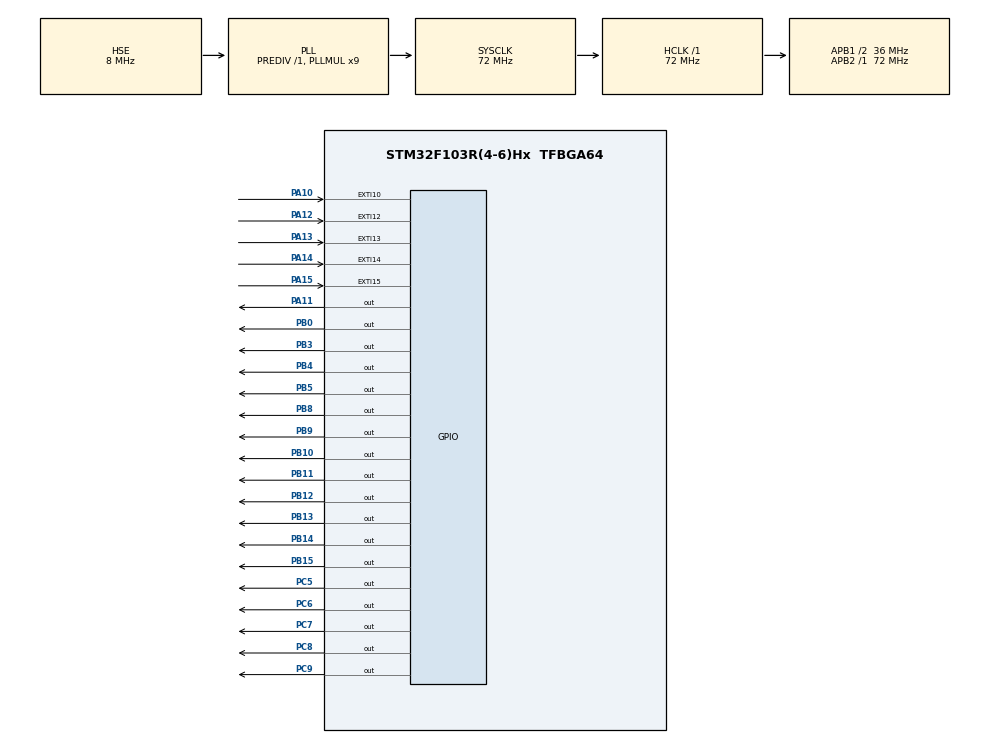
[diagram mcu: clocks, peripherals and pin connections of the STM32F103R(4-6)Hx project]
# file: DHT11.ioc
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Mcu.Family=STM32F1
Mcu.Name=STM32F103R(4-6)Hx
Mcu.Package=TFBGA64
NVIC.EXTI15_10_IRQn=true\:0\:0\:false\:false\:true\:true\:true
NVIC.PriorityGroup=NVIC_PRIORITYGROUP_4
PA10.GPIO_PuPd=GPIO_PULLUP
PA10.Signal=GPXTI10
PA11.GPIO_PuPd=GPIO_PULLUP
PA11.Signal=GPIO_Output
PA12.GPIO_ModeDefaultEXTI=GPIO_MODE_IT_FALLING
PA12.GPIO_PuPd=GPIO_PULLUP
PA12.Signal=GPXTI12
PA13.GPIO_ModeDefaultEXTI=GPIO_MODE_IT_FALLING
PA13.GPIO_PuPd=GPIO_PULLUP
PA13.Signal=GPXTI13
PA14.GPIO_ModeDefaultEXTI=GPIO_MODE_IT_FALLING
PA14.GPIO_PuPd=GPIO_PULLUP
PA14.Signal=GPXTI14
PA15.GPIO_ModeDefaultEXTI=GPIO_MODE_IT_FALLING
PA15.GPIO_PuPd=GPIO_PULLUP
PA15.Signal=GPXTI15
PB0.GPIO_PuPd=GPIO_PULLUP
PB0.Signal=GPIO_Output
PB10.GPIO_PuPd=GPIO_PULLUP
PB10.Signal=GPIO_Output
PB11.GPIO_PuPd=GPIO_PULLUP
PB11.Signal=GPIO_Output
PB12.GPIO_PuPd=GPIO_PULLUP
PB12.Signal=GPIO_Output
PB13.GPIO_PuPd=GPIO_PULLUP
PB13.Signal=GPIO_Output
PB14.GPIO_PuPd=GPIO_PULLUP
PB14.Signal=GPIO_Output
PB15.GPIO_PuPd=GPIO_PULLUP
PB15.Signal=GPIO_Output
PB3.GPIO_PuPd=GPIO_PULLUP
PB3.Signal=GPIO_Output
PB4.GPIO_PuPd=GPIO_PULLUP
PB4.Signal=GPIO_Output
PB5.GPIO_PuPd=GPIO_PULLUP
PB5.Signal=GPIO_Output
PB8.GPIO_PuPd=GPIO_PULLUP
PB8.Signal=GPIO_Output
PB9.GPIO_PuPd=GPIO_PULLUP
PB9.Signal=GPIO_Output
PC14-OSC32_IN.Mode=LSE-External-Oscillator
PC14-OSC32_IN.Signal=RCC_OSC32_IN
PC15-OSC32_OUT.Mode=LSE-External-Oscillator
PC15-OSC32_OUT.Signal=RCC_OSC32_OUT
PC5.GPIO_PuPd=GPIO_PULLUP
PC5.Signal=GPIO_Output
PC6.GPIO_PuPd=GPIO_NOPULL
PC6.Signal=GPIO_Output
PC7.GPIO_PuPd=GPIO_NOPULL
PC7.Signal=GPIO_Output
PC8.GPIO_PuPd=GPIO_NOPULL
PC8.Signal=GPIO_Output
PC9.GPIO_PuPd=GPIO_NOPULL
PC9.Signal=GPIO_Output
PD0-OSC_IN.Mode=HSE-External-Oscillator
PD0-OSC_IN.Signal=RCC_OSC_IN
PD1-OSC_OUT.Mode=HSE-External-Oscillator
PD1-OSC_OUT.Signal=RCC_OSC_OUT
ProjectManager.HeapSize=0x200
ProjectManager.StackSize=0x400
ProjectManager.TargetToolchain=MDK-ARM V5
RCC.AHBFreq_Value=72000000
RCC.APB1CLKDivider=RCC_HCLK_DIV2
RCC.APB1Freq_Value=36000000
RCC.APB1TimFreq_Value=72000000
RCC.APB2Freq_Value=72000000
RCC.APB2TimFreq_Value=72000000
RCC.HCLKFreq_Value=72000000
RCC.PLLMUL=RCC_PLL_MUL9
RCC.PLLSourceVirtual=RCC_PLLSOURCE_HSE
RCC.SYSCLKFreq_VALUE=72000000
RCC.SYSCLKSource=RCC_SYSCLKSOURCE_PLLCLK
RCC.USBFreq_Value=72000000
TIM1.Prescaler=71
VP_SYS_VS_ND.Mode=No_Debug
VP_TIM1_VS_ClockSourceINT.Mode=Internal
board=custom

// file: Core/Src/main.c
/* USER CODE BEGIN Header */
/**
  ******************************************************************************
  * @file           : main.c
  * @brief          : Main program body
  ******************************************************************************
  * @attention
  *
  * Copyright (c) 2022 STMicroelectronics.
  * All rights reserved.
  *
  * This software is licensed under terms that can be found in the LICENSE file
  * in the root directory of this software component.
  * If no LICENSE file comes with this software, it is provided AS-IS.
  *
  ******************************************************************************
  */
/* USER CODE END Header */
#include "main.h"
#include "tim.h"
#include "gpio.h"

/* USER CODE BEGIN Includes */
#include "dht11.h"
#include "lcd1602.h"
#include "stdio.h"
#include "buzzer.h"
#include "button.h"
#include "relay.h"

/* USER CODE END Includes */

void SystemClock_Config(void);

/* USER CODE BEGIN 0 */
DHT11_Data_TypeDef DHT11_Data;
char* info;
int WET_toplimit = 70;
int WET_bottomlimit = 10;
int TEMP_toplimit = 70;
int TEMP_bottomlimit = 10;
int mode = -1;
char text_temp[10]="temp_lim";
char text_wet[10]="wet_lim";
/* USER CODE END 0 */

int main(void)
{

  /* MCU Configuration--------------------------------------------------------*/

  /* Reset of all peripherals, Initializes the Flash interface and the Systick. */
  HAL_Init();

  /* Configure the system clock */
  SystemClock_Config();

  /* Initialize all configured peripherals */
  MX_GPIO_Init();
  MX_TIM1_Init();
  /* USER CODE BEGIN 2 */

	LCD_Init();

		if (DHT11_ReadData(&DHT11_Data))
		{
			LCD_Clear();
			sprintf(info,"Temp:%d Wet:%d",DHT11_Data.temp_int,DHT11_Data.humi_int);
			LCD_Puts(0,0,info);
		}
		else
		{
			LCD_Clear();
			LCD_Puts(0,0,"Error!!!");
		}

  /* USER CODE END 2 */

  /* Infinite loop */
  while (1)
  {

    /* USER CODE BEGIN 3 */
		if(MODE_IN == GPIO_PIN_SET)
		{
			mode = -mode;
		}

		if (DHT11_ReadData(&DHT11_Data))
		{
			LCD_Clear();
			if(mode == -1)
			{
				sprintf(info,"Temp:%d Wet:%d\r\n T +:%d-:%d ",DHT11_Data.temp_int,DHT11_Data.humi_int,TEMP_toplimit,TEMP_bottomlimit);
			}
			else if(mode == 1)
			{
				sprintf(info,"Temp:%d Wet:%d\r\n W +:%d-:%d ",DHT11_Data.temp_int,DHT11_Data.humi_int,WET_toplimit,WET_bottomlimit);
			}
			LCD_Puts(0,0,info);

			if((DHT11_Data.temp_int>TEMP_toplimit)||(DHT11_Data.temp_int<TEMP_bottomlimit)||(DHT11_Data.humi_int<WET_bottomlimit)||(DHT11_Data.humi_int>WET_toplimit))
			{
					HAL_GPIO_WritePin(GPIOB, GPIO_PIN_0, GPIO_PIN_RESET);

					if(DHT11_Data.temp_int>TEMP_toplimit)
					{
						TEMP_DOWN_ON;
						TEMP_UP_OFF;
					}
					else if(DHT11_Data.temp_int<TEMP_bottomlimit)
					{
						TEMP_UP_ON;
						TEMP_DOWN_OFF;
					}
					else
					{
						TEMP_UP_OFF;
						TEMP_DOWN_OFF;
					}

					if(DHT11_Data.humi_int>WET_toplimit)
					{
						WET_DOWN_ON;
						WET_UP_OFF;
					}
					else if(DHT11_Data.temp_int<WET_bottomlimit)
					{
						WET_UP_ON;
						WET_DOWN_OFF;
					}
					else
					{
						WET_UP_OFF;
						WET_DOWN_OFF;
					}

			}
			else
			{
			WET_UP_OFF;
			WET_DOWN_OFF;
			TEMP_UP_OFF;
			TEMP_DOWN_OFF;

			HAL_GPIO_WritePin(GPIOB, GPIO_PIN_0, GPIO_PIN_SET);
			}
		}
		else
		{
			LCD_Clear();
			LCD_Puts(0,0,"Error!!!");
		}

   }
  /* USER CODE END 3 */
}

void SystemClock_Config(void)
{
  RCC_OscInitTypeDef RCC_OscInitStruct = {0};
  RCC_ClkInitTypeDef RCC_ClkInitStruct = {0};

  /** Initializes the RCC Oscillators according to the specified parameters
  * in the RCC_OscInitTypeDef structure.
  */
  RCC_OscInitStruct.OscillatorType = RCC_OSCILLATORTYPE_HSE;
  RCC_OscInitStruct.HSEState = RCC_HSE_ON;
  RCC_OscInitStruct.HSEPredivValue = RCC_HSE_PREDIV_DIV1;
  RCC_OscInitStruct.HSIState = RCC_HSI_ON;
  RCC_OscInitStruct.PLL.PLLState = RCC_PLL_ON;
  RCC_OscInitStruct.PLL.PLLSource = RCC_PLLSOURCE_HSE;
  RCC_OscInitStruct.PLL.PLLMUL = RCC_PLL_MUL9;
  if (HAL_RCC_OscConfig(&RCC_OscInitStruct) != HAL_OK)
  {
    Error_Handler();
  }
  /** Initializes the CPU, AHB and APB buses clocks
  */
  RCC_ClkInitStruct.ClockType = RCC_CLOCKTYPE_HCLK|RCC_CLOCKTYPE_SYSCLK
                              |RCC_CLOCKTYPE_PCLK1|RCC_CLOCKTYPE_PCLK2;
  RCC_ClkInitStruct.SYSCLKSource = RCC_SYSCLKSOURCE_PLLCLK;
  RCC_ClkInitStruct.AHBCLKDivider = RCC_SYSCLK_DIV1;
  RCC_ClkInitStruct.APB1CLKDivider = RCC_HCLK_DIV2;
  RCC_ClkInitStruct.APB2CLKDivider = RCC_HCLK_DIV1;

  if (HAL_RCC_ClockConfig(&RCC_ClkInitStruct, FLASH_LATENCY_2) != HAL_OK)
  {
    Error_Handler();
  }
}

/* USER CODE BEGIN 4 */
void HAL_GPIO_EXTI_Callback(uint16_t GPIO_Pin)
{
		if(GPIO_Pin == MODE_Pin)
		{
			mode = -mode;
		}

		if(mode == -1)
		{
				switch(GPIO_Pin)
				{
					case TOP_UP_Pin : TEMP_toplimit++ ; break;
					case TOP_DOWN_Pin : TEMP_toplimit-- ;break;
					case BOTTOM_UP_Pin : TEMP_bottomlimit++ ; break;
					case BOTTOM_DOWN_Pin : TEMP_bottomlimit-- ;break;
					default : break;
				}
		}
		else if(mode == 1)
		{
				switch(GPIO_Pin)
				{
					case TOP_UP_Pin : WET_toplimit++ ; break;
					case TOP_DOWN_Pin : WET_toplimit-- ;break;
					case BOTTOM_UP_Pin : WET_bottomlimit++ ; break;
					case BOTTOM_DOWN_Pin : WET_bottomlimit-- ;break;
					default : break;
				}

		}

}
/* USER CODE END 4 */

void Error_Handler(void)
{
  __disable_irq();
  while (1)
  {
  }
}
